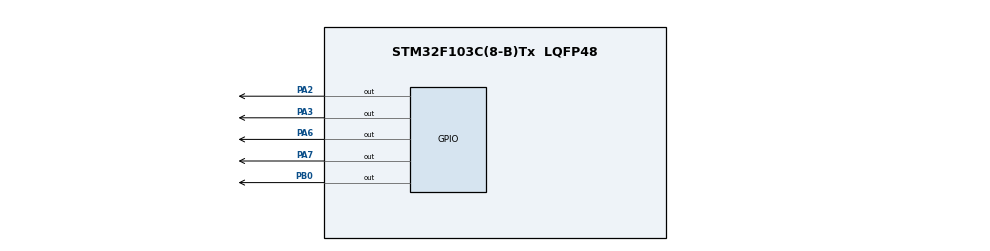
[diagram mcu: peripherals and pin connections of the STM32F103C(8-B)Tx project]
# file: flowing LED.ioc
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Mcu.Family=STM32F1
Mcu.Name=STM32F103C(8-B)Tx
Mcu.Package=LQFP48
NVIC.PriorityGroup=NVIC_PRIORITYGROUP_4
PA2.Signal=GPIO_Output
PA3.Signal=GPIO_Output
PA6.Signal=GPIO_Output
PA7.Signal=GPIO_Output
PB0.Signal=GPIO_Output
ProjectManager.HeapSize=0x200
ProjectManager.StackSize=0x400
ProjectManager.TargetToolchain=STM32CubeIDE
RCC.APB1Freq_Value=8000000
RCC.APB2Freq_Value=8000000
board=custom

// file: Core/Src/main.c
/* USER CODE BEGIN Header */
/**
  ******************************************************************************
  * @file           : main.c
  * @brief          : Main program body
  ******************************************************************************
  * @attention
  *
  * Copyright (c) 2026 STMicroelectronics.
  * All rights reserved.
  *
  * This software is licensed under terms that can be found in the LICENSE file
  * in the root directory of this software component.
  * If no LICENSE file comes with this software, it is provided AS-IS.
  *
  ******************************************************************************
  */
/* USER CODE END Header */
#include "main.h"

void SystemClock_Config(void);
static void MX_GPIO_Init(void);

int main(void)
{

  /* MCU Configuration--------------------------------------------------------*/

  /* Reset of all peripherals, Initializes the Flash interface and the Systick. */
  HAL_Init();

  /* Configure the system clock */
  SystemClock_Config();

  /* Initialize all configured peripherals */
  MX_GPIO_Init();

  /* Infinite loop */
  /* USER CODE BEGIN WHILE */
  while (1)
  {
	  HAL_GPIO_WritePin(GPIOA, GPIO_PIN_2, GPIO_PIN_SET);
	  HAL_Delay(5000);
	  HAL_GPIO_WritePin(GPIOA, GPIO_PIN_2, GPIO_PIN_RESET);

	  HAL_GPIO_WritePin(GPIOA, GPIO_PIN_3, GPIO_PIN_SET);
	  HAL_Delay(5000);
	  HAL_GPIO_WritePin(GPIOA, GPIO_PIN_3, GPIO_PIN_RESET);

	  HAL_GPIO_WritePin(GPIOA, GPIO_PIN_6, GPIO_PIN_SET);
	  HAL_Delay(5000);
	  HAL_GPIO_WritePin(GPIOA, GPIO_PIN_6, GPIO_PIN_RESET);

	  HAL_GPIO_WritePin(GPIOA, GPIO_PIN_7, GPIO_PIN_SET);
	  HAL_Delay(5000);
	  HAL_GPIO_WritePin(GPIOA, GPIO_PIN_7, GPIO_PIN_RESET);

	  HAL_GPIO_WritePin(GPIOB, GPIO_PIN_0, GPIO_PIN_SET);
	  HAL_Delay(5000);
	  HAL_GPIO_WritePin(GPIOB, GPIO_PIN_0, GPIO_PIN_RESET);

    /* USER CODE END WHILE */

  }
}

void SystemClock_Config(void)
{
  RCC_OscInitTypeDef RCC_OscInitStruct = {0};
  RCC_ClkInitTypeDef RCC_ClkInitStruct = {0};

  /** Initializes the RCC Oscillators according to the specified parameters
  * in the RCC_OscInitTypeDef structure.
  */
  RCC_OscInitStruct.OscillatorType = RCC_OSCILLATORTYPE_HSI;
  RCC_OscInitStruct.HSIState = RCC_HSI_ON;
  RCC_OscInitStruct.HSICalibrationValue = RCC_HSICALIBRATION_DEFAULT;
  RCC_OscInitStruct.PLL.PLLState = RCC_PLL_NONE;
  if (HAL_RCC_OscConfig(&RCC_OscInitStruct) != HAL_OK)
  {
    Error_Handler();
  }

  /** Initializes the CPU, AHB and APB buses clocks
  */
  RCC_ClkInitStruct.ClockType = RCC_CLOCKTYPE_HCLK|RCC_CLOCKTYPE_SYSCLK
                              |RCC_CLOCKTYPE_PCLK1|RCC_CLOCKTYPE_PCLK2;
  RCC_ClkInitStruct.SYSCLKSource = RCC_SYSCLKSOURCE_HSI;
  RCC_ClkInitStruct.AHBCLKDivider = RCC_SYSCLK_DIV1;
  RCC_ClkInitStruct.APB1CLKDivider = RCC_HCLK_DIV1;
  RCC_ClkInitStruct.APB2CLKDivider = RCC_HCLK_DIV1;

  if (HAL_RCC_ClockConfig(&RCC_ClkInitStruct, FLASH_LATENCY_0) != HAL_OK)
  {
    Error_Handler();
  }
}

static void MX_GPIO_Init(void)
{
  GPIO_InitTypeDef GPIO_InitStruct = {0};

  /* GPIO Ports Clock Enable */
  __HAL_RCC_GPIOA_CLK_ENABLE();
  __HAL_RCC_GPIOB_CLK_ENABLE();

  /*Configure GPIO pin Output Level */
  HAL_GPIO_WritePin(GPIOA, GPIO_PIN_2|GPIO_PIN_3|GPIO_PIN_6|GPIO_PIN_7, GPIO_PIN_RESET);

  /*Configure GPIO pin Output Level */
  HAL_GPIO_WritePin(GPIOB, GPIO_PIN_0, GPIO_PIN_RESET);

  /*Configure GPIO pins : PA2 PA3 PA6 PA7 */
  GPIO_InitStruct.Pin = GPIO_PIN_2|GPIO_PIN_3|GPIO_PIN_6|GPIO_PIN_7;
  GPIO_InitStruct.Mode = GPIO_MODE_OUTPUT_PP;
  GPIO_InitStruct.Pull = GPIO_NOPULL;
  GPIO_InitStruct.Speed = GPIO_SPEED_FREQ_LOW;
  HAL_GPIO_Init(GPIOA, &GPIO_InitStruct);

  /*Configure GPIO pin : PB0 */
  GPIO_InitStruct.Pin = GPIO_PIN_0;
  GPIO_InitStruct.Mode = GPIO_MODE_OUTPUT_PP;
  GPIO_InitStruct.Pull = GPIO_NOPULL;
  GPIO_InitStruct.Speed = GPIO_SPEED_FREQ_LOW;
  HAL_GPIO_Init(GPIOB, &GPIO_InitStruct);

}

void Error_Handler(void)
{
  __disable_irq();
  while (1)
  {
  }
}
